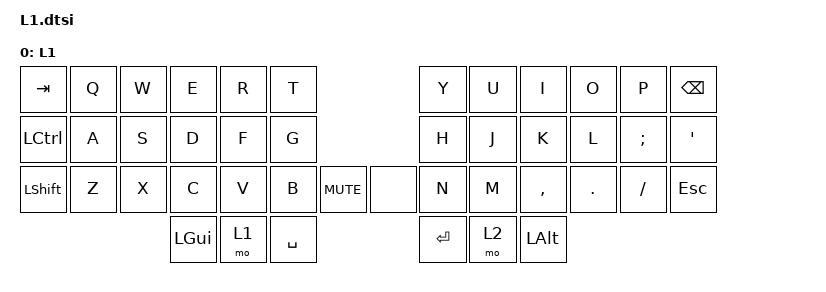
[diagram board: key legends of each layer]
/ {
  keymap {
    compatible = "zmk,keymap";

    qwerty_layer {
      display-name="L1";

// -------------------------------------------------------------------------------------------------
// |  TAB |  Q  |  W  |  E  |  R  |  T  |                    |  Y  |  U   |  I  |  O  |  P  | BKSP |
// | CTRL |  A  |  S  |  D  |  F  |  G  |                    |  H  |  J   |  K  |  L  |  ;  |  '   |
// | SHFT |  Z  |  X  |  C  |  V  |  B  |  MUTE  |  |        |  N  |  M   |  ,  |  .  |  /  | ESC  |
//                    | GUI | LWR | SPC |                    | ENT | RSE  | ALT |
      bindings = <
&kp TAB   &kp Q &kp W &kp E    &kp R &kp T                      &kp Y   &kp U &kp I     &kp O   &kp P    &kp BSPC
&kp LCTRL &kp A &kp S &kp D    &kp F &kp G                      &kp H   &kp J &kp K     &kp L   &kp SEMI &kp SQT
&kp LSHFT &kp Z &kp X &kp C    &kp V &kp B     &kp C_MUTE &none &kp N   &kp M &kp COMMA &kp DOT &kp FSLH &kp ESC
                      &kp LGUI &mo 1 &kp SPACE                  &kp RET &mo 2 &kp LALT
      >;
    };
  };
};
